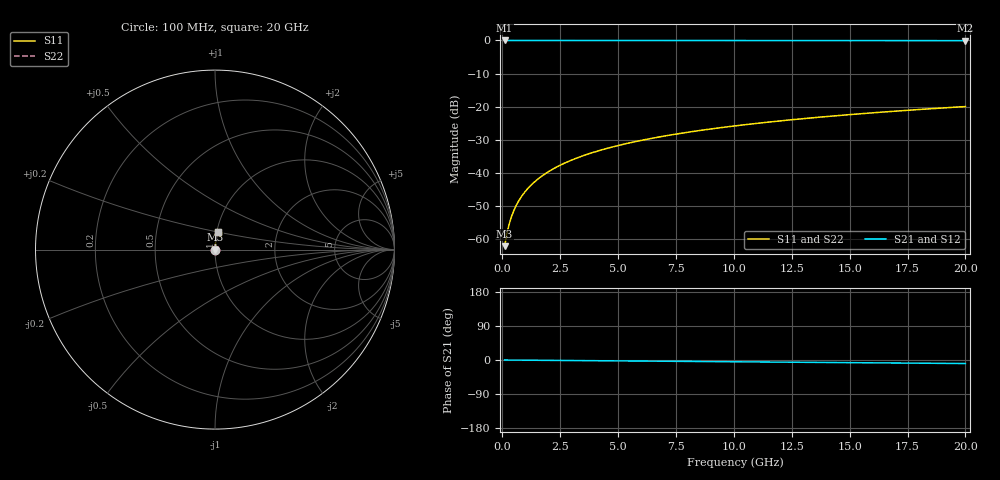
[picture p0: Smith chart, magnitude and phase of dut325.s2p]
! Touchstone file exported from HFSS 2026.1.0
!  File:  C:/ffzhzh/LocalFiles/Ansys_Project_Files/temp_train_TSV_325_1783018431_55676.aedt
!  Generated:  02:56:13 AM Jul  3, 2026
!  Design:  TSV
!  Project:  temp_train_TSV_325_1783018431_55676
! Variables:
!  h_bsmrdl = 2um
!  h_ox = 20um
!  h_rdl = 5um
!  h_sub = 67.18um
!  h_tmrdl = 5um
!  h_tsv = 67.18um
!  h_via = 3um
!  l_bsmrdl = 300um
!  l_sub = 407.5um
!  l_tmrdl = 200um
!  m_sub = 200um
!  pitch = 48.77um
!  r_tsv = 3.75um
!  s_tmrdl = 10um
!  w_bsmrdl = 18um
!  w_sub = 500um
!  w_tmrdl = 12um
!  x_tsv_center1 = 206um
!  x_tsv_center2 = 524um
!  x_tsv_center3 = 736um
!  x_tsv_center4 = 1054um
!  x_tsv_center5 = 1266um
!  x_tsv_center6 = 1584um
# GHz S MA R 50.000000
! Terminal data exported
! Port[1] = TSV1_1_T1
! Port[2] = TSV1_1_T2
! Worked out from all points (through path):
!   200 points, 100 MHz to 20 GHz, reference 50 ohm
!   highest |S21| = -0.01 dB at 100 MHz (marker M1); lowest = -0.1 dB at 20 GHz (marker M2)
!   group delay of S21, straight-line fit = 1.29 ps
!   lowest |S11| = -62.1 dB at 100 MHz (marker M3), VSWR 1.00, Z = 50.1 + j0.0539 ohm
!   |S11| at or under -10 dB: start of sweep to end of sweep
!   |S22| runs from -62.1 to -19.9 dB; largest |S21 - S12| = 3.3e-15
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0.1  0.0007896 43.0  0.9994 -0.0  0.9994 -0.0  0.0007896 43.0
! Gamma 0 0 0 0
! Port Impedance 50 0 50 0
0.2  0.001223 61.3  0.9994 -0.1  0.9994 -0.1  0.001223 61.3
0.3  0.001711 69.5  0.9994 -0.1  0.9994 -0.1  0.001711 69.5
0.4  0.002215 73.9  0.9994 -0.2  0.9994 -0.2  0.002215 73.9
0.5  0.002725 76.8  0.9994 -0.2  0.9994 -0.2  0.002725 76.8
0.6  0.003239 78.7  0.9994 -0.3  0.9994 -0.3  0.003239 78.7
0.8  0.004274 81.1  0.9994 -0.4  0.9994 -0.4  0.004274 81.1
1.1  0.005834 83.1  0.9993 -0.5  0.9993 -0.5  0.005834 83.1
1.5  0.00792 84.4  0.9993 -0.7  0.9993 -0.7  0.00792 84.4
1.8  0.009485 84.9  0.9992 -0.9  0.9992 -0.9  0.009485 84.9
2.1  0.01105 85.2  0.9992 -1.0  0.9992 -1.0  0.01105 85.2
2.7  0.01417 85.5  0.9991 -1.3  0.9991 -1.3  0.01417 85.5
3.5  0.01831 85.5  0.9989 -1.7  0.9989 -1.7  0.01831 85.5
4.2  0.02191 85.4  0.9988 -2.0  0.9988 -2.0  0.02191 85.4
5  0.026 85.2  0.9986 -2.4  0.9986 -2.4  0.026 85.2
5.9  0.03058 84.9  0.9983 -2.8  0.9983 -2.8  0.03058 84.9
6.8  0.03514 84.6  0.9981 -3.2  0.9981 -3.2  0.03514 84.6
8.3  0.0427 84.1  0.9976 -3.9  0.9976 -3.9  0.0427 84.1
10.1  0.05172 83.4  0.997 -4.7  0.997 -4.7  0.05172 83.4
13.4  0.06816 82.1  0.9958 -6.3  0.9958 -6.3  0.06816 82.1
16.7  0.08448 80.8  0.9943 -7.8  0.9943 -7.8  0.08448 80.8
20  0.1007 79.4  0.9926 -9.3  0.9926 -9.3  0.1007 79.4
